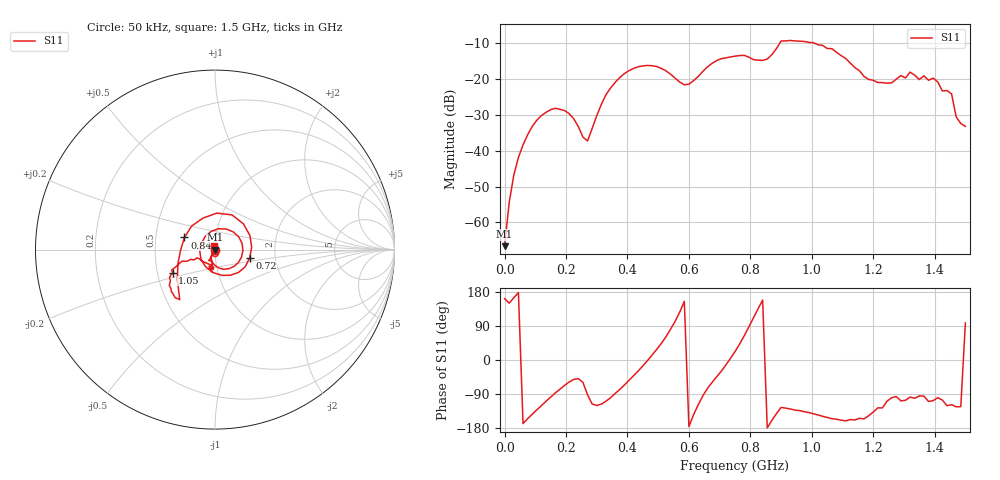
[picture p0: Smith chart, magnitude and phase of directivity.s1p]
! Created with skrf 1.8.0 (http://scikit-rf.org).
# Hz S RI R 50.0
!freq ReS11 ImS11
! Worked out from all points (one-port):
!   101 points, 50 kHz to 1.5 GHz, reference 50 ohm
!   lowest |S11| = -66.6 dB at 50 kHz (marker M1), VSWR 1.00, Z = 50 + j0.0144 ohm
!   |S11| at or under -10 dB: start of sweep to 895.3 MHz; 1.01 GHz to end of sweep
!   S11 on the Smith chart (normalised r, x): 50 kHz: 1.00, +0.00; 720 MHz: 1.47, -0.14; 840 MHz: 0.70, +0.10; 1.05 GHz: 0.60, -0.17; 1.5 GHz: 0.99, +0.04
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50000  -0.000444 0.000144
1.50495e7  -0.00165 0.00095
3.0049e7  -0.00444 0.00125
6.0048e7  -0.0118 -0.00256
1.20046e8  -0.0157 -0.0269
1.950435e8  0.0142 -0.0336
2.70041e8  -0.000427 -0.0138
3.30039e8  -0.0195 -0.0576
3.750375e8  0.0227 -0.1033
4.80034e8  0.1507 0.0346
5.70031e8  -0.0541 0.0737
6.0003e8  -0.0849 -0.00632
6.60028e8  0.0378 -0.1434
7.20026e8  0.1933 -0.0459
7.50025e8  0.1946 0.0787
7.950235e8  0.01 0.2032
8.40022e8  -0.1702 0.0675
9.0002e8  -0.1965 -0.2793
9.450185e8  -0.2295 -0.2544
1.050015e9  -0.2362 -0.128
1.125012e9  -0.1555 -0.0653
1.21501e9  -0.0533 -0.0725
1.320006e9  -0.0171 -0.1244
1.395004e9  -0.0308 -0.099
1.425002e9  -0.0185 -0.066
1.455002e9  -0.0292 -0.0552
1.470001e9  -0.0165 -0.0249
1.5e9  -0.00294 0.0218
